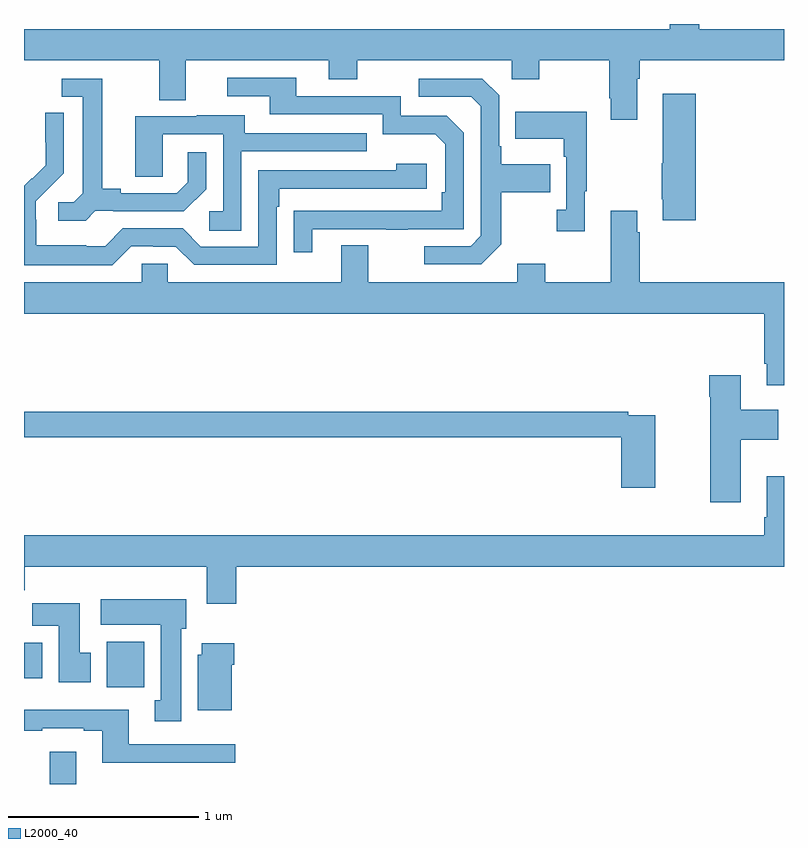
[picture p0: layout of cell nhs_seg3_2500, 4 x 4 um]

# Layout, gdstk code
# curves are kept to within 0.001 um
import gdstk
lib = gdstk.Library(unit=1e-6, precision=1e-09)
def R(c, l, rs):  # rectangles x0, y0, x1, y1
    for r in rs: c.add(gdstk.rectangle(r[:2], r[2:], *l))
def P(c, l, *ps):  # polygons
    for p in ps: c.add(gdstk.Polygon(p, *l))
L2000_40 = (2000, 40)

nhs_seg3_2500 = lib.new_cell('nhs_seg3_2500')
R(nhs_seg3_2500, L2000_40, [(239.135,738.4,239.275,738.571), (239.435,738.908,239.632,739.15), (239,738.956,239.095,739.144)])
P(nhs_seg3_2500, L2000_40, [(242.227,742.112),(242.24,742.112),(242.24,742.208),(243,742.208),(243,742.372),(242.555,742.372),(242.555,742.4),(242.399,742.4),(242.399,742.372),(239,742.372),(239,742.208),(239.711,742.208),(239.711,742),(239.851,742),(239.851,742.208),(240.605,742.208),(240.605,742.109),(240.753,742.109),(240.753,742.208),(241.566,742.208),(241.566,742.109),(241.713,742.109),(241.713,742.208),(242.08,742.208),(242.08,742.009),(242.087,742.009),(242.087,741.897),(242.227,741.897)],
  [(240.517,741.321),(240.907,741.321),(240.907,741.316),(241.019,741.316),(241.019,741.321),(241.314,741.321),(241.314,741.828),(241.224,741.918),(240.984,741.918),(240.984,742.02),(240.433,742.02),(240.433,742.116),(240.069,742.116),(240.069,742.02),(240.293,742.02),(240.293,741.924),(240.888,741.924),(240.888,741.821),(241.165,741.821),(241.218,741.768),(241.218,741.514),(241.198,741.514),(241.198,741.417),(240.421,741.416),(240.421,741.198),(240.517,741.198)],
  [(241.513,741.241),(241.513,741.514),(241.769,741.514),(241.769,741.661),(241.513,741.661),(241.513,741.757),(241.5,741.757),(241.5,742.026),(241.413,742.113),(241.077,742.113),(241.077,742.017),(241.353,742.017),(241.404,741.966),(241.404,741.285),(241.35,741.231),(241.107,741.231),(241.107,741.135),(241.407,741.135)],
  [(239.376,741.417),(239.47,741.417),(239.47,741.414),(239.842,741.414),(239.958,741.53),(239.958,741.724),(239.861,741.724),(239.861,741.567),(239.804,741.51),(239.509,741.51),(239.509,741.533),(239.413,741.533),(239.413,742.113),(239.199,742.113),(239.199,742.017),(239.309,742.017),(239.309,741.509),(239.262,741.462),(239.181,741.462),(239.181,741.365),(239.324,741.365)],
  [(242.536,742.033),(242.363,742.033),(242.363,741.667),(242.356,741.667),(242.356,741.478),(242.363,741.478),(242.363,741.366),(242.536,741.366)],
  [(241.951,741.521),(241.963,741.521),(241.963,741.937),(241.585,741.937),(241.585,741.797),(241.842,741.797),(241.842,741.701),(241.854,741.701),(241.854,741.422),(241.803,741.422),(241.803,741.309),(241.951,741.309)],
  [(239.565,741.231),(239.681,741.231),(239.681,741.228),(239.799,741.228),(239.895,741.132),(240.33,741.132),(240.33,741.437),(240.343,741.437),(240.343,741.534),(241.12,741.534),(241.12,741.664),(240.959,741.664),(240.959,741.63),(240.234,741.63),(240.234,741.228),(239.931,741.228),(239.835,741.324),(239.52,741.324),(239.427,741.231),(239.327,741.231),(239.327,741.235),(239.064,741.235),(239.064,741.369),(239.062,741.369),(239.062,741.466),(239.208,741.614),(239.208,741.932),(239.112,741.932),(239.112,741.778),(239.114,741.778),(239.114,741.656),(239.043,741.585),(239.04,741.588),(239,741.548),(239,741.131),(239.465,741.131)],
  [(240.144,741.729),(240.803,741.729),(240.803,741.825),(240.163,741.825),(240.163,741.919),(239.909,741.919),(239.909,741.915),(239.585,741.915),(239.585,741.595),(239.73,741.595),(239.73,741.819),(240.048,741.819),(240.048,741.414),(239.976,741.414),(239.976,741.313),(240.144,741.313)],
  [(243,741.04),(242.24,741.04),(242.24,741.305),(242.227,741.305),(242.227,741.418),(242.087,741.418),(242.087,741.04),(241.743,741.04),(241.743,741.139),(241.595,741.139),(241.595,741.04),(240.811,741.04),(240.811,741.235),(240.671,741.235),(240.671,741.04),(239.757,741.04),(239.757,741.138),(239.619,741.138),(239.619,741.04),(239,741.04),(239,740.876),(242.897,740.876),(242.897,740.611),(242.909,740.611),(242.909,740.499),(243,740.499)],
  [(242.773,740.213),(242.971,740.213),(242.971,740.371),(242.773,740.371),(242.773,740.551),(242.606,740.551),(242.606,740.438),(242.611,740.438),(242.611,739.884),(242.773,739.884)],
  [(242.322,740.34),(242.18,740.34),(242.18,740.36),(239,740.36),(239,740.224),(242.144,740.224),(242.144,739.959),(242.322,739.959)],
  [(240.116,739.544),(243,739.544),(243,740.02),(242.909,740.02),(242.909,739.804),(242.897,739.804),(242.897,739.708),(239,739.708),(239,739.42),(239.003,739.42),(239.003,739.544),(239.963,739.544),(239.963,739.35),(240.116,739.35)],
  [(239.827,739.218),(239.854,739.218),(239.854,739.372),(239.403,739.372),(239.403,739.238),(239.72,739.238),(239.72,738.842),(239.687,738.842),(239.687,738.729),(239.827,738.729)],
  [(239.35,739.092),(239.293,739.092),(239.293,739.351),(239.044,739.351),(239.044,739.232),(239.183,739.232),(239.183,738.936),(239.35,738.936)],
  [(240.094,739.028),(240.107,739.028),(240.107,739.141),(239.936,739.141),(239.936,739.08),(239.915,739.08),(239.915,738.788),(240.094,738.788)],
  [(240.112,738.609),(239.551,738.609),(239.551,738.79),(239,738.79),(239,738.681),(239.095,738.681),(239.095,738.693),(239.315,738.693),(239.315,738.681),(239.411,738.681),(239.411,738.512),(240.112,738.512)])

lib.write_gds('nhs_seg3_2500.gds')
